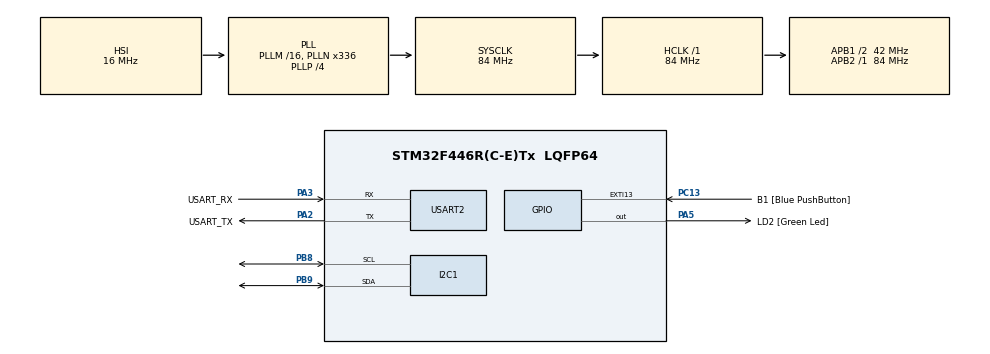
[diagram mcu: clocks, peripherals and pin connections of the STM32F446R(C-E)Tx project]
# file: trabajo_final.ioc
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Mcu.Family=STM32F4
Mcu.Name=STM32F446R(C-E)Tx
Mcu.Package=LQFP64
NVIC.PriorityGroup=NVIC_PRIORITYGROUP_0
PA13.GPIO_Label=TMS
PA13.Mode=Serial_Wire
PA13.Signal=SYS_JTMS-SWDIO
PA14.GPIO_Label=TCK
PA14.Mode=Serial_Wire
PA14.Signal=SYS_JTCK-SWCLK
PA2.GPIO_Label=USART_TX
PA2.Mode=Asynchronous
PA2.Signal=USART2_TX
PA3.GPIO_Label=USART_RX
PA3.Mode=Asynchronous
PA3.Signal=USART2_RX
PA5.GPIO_Label=LD2 [Green Led]
PA5.Signal=GPIO_Output
PB3.GPIO_Label=SWO
PB3.Signal=SYS_JTDO-SWO
PB8.Mode=I2C
PB8.Signal=I2C1_SCL
PB9.Mode=I2C
PB9.Signal=I2C1_SDA
PC13.GPIO_Label=B1 [Blue PushButton]
PC13.GPIO_ModeDefaultEXTI=GPIO_MODE_IT_FALLING
PC13.Signal=GPXTI13
PC14-OSC32_IN.Mode=LSE-External-Oscillator
PC14-OSC32_IN.Signal=RCC_OSC32_IN
PC15-OSC32_OUT.Mode=LSE-External-Oscillator
PC15-OSC32_OUT.Signal=RCC_OSC32_OUT
PH0-OSC_IN.Mode=HSE-External-Oscillator
PH0-OSC_IN.Signal=RCC_OSC_IN
PH1-OSC_OUT.Mode=HSE-External-Oscillator
PH1-OSC_OUT.Signal=RCC_OSC_OUT
ProjectManager.HeapSize=0x200
ProjectManager.StackSize=0x400
ProjectManager.TargetToolchain=STM32CubeIDE
RCC.48MHZClocksFreq_Value=84000000
RCC.AHBFreq_Value=84000000
RCC.APB1CLKDivider=RCC_HCLK_DIV2
RCC.APB1Freq_Value=42000000
RCC.APB1TimFreq_Value=84000000
RCC.APB2Freq_Value=84000000
RCC.APB2TimFreq_Value=84000000
RCC.CortexFreq_Value=84000000
RCC.FLatency-AdvancedSettings=FLASH_LATENCY_2
RCC.HCLKFreq_Value=84000000
RCC.HSE_VALUE=8000000
RCC.HSI_VALUE=16000000
RCC.PLLN=336
RCC.PLLP=RCC_PLLP_DIV4
RCC.SYSCLKFreq_VALUE=84000000
RCC.SYSCLKSource=RCC_SYSCLKSOURCE_PLLCLK
RCC.USBFreq_Value=168000000
RCC.VCOOutputFreq_Value=336000000
USART2.VirtualMode=VM_ASYNC
board=NUCLEO-F446RE

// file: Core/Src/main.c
/* USER CODE BEGIN Header */
/**
  ******************************************************************************
  * @file           : main.c
  * @brief          : Main program body
  ******************************************************************************
  * @attention
  *
  * Copyright (c) 2025 STMicroelectronics.
  * All rights reserved.
  *
  * This software is licensed under terms that can be found in the LICENSE file
  * in the root directory of this software component.
  * If no LICENSE file comes with this software, it is provided AS-IS.
  *
  ******************************************************************************
  */
/* USER CODE END Header */
#include "main.h"

/* USER CODE BEGIN Includes */
#include <stdbool.h>
#include <stdint.h>
#include "API_ht_sensor.h"
#include "API_cmdparser.h"
#include "API_lcd.h"
#include "error.h"

/* USER CODE END Includes */

I2C_HandleTypeDef hi2c1;

UART_HandleTypeDef huart2;

void SystemClock_Config(void);
static void MX_GPIO_Init(void);
static void MX_USART2_UART_Init(void);
static void MX_I2C1_Init(void);

int main(void)
{

  /* MCU Configuration--------------------------------------------------------*/

  /* Reset of all peripherals, Initializes the Flash interface and the Systick. */
  HAL_Init();

  /* Configure the system clock */
  SystemClock_Config();

  /* Initialize all configured peripherals */
  MX_GPIO_Init();
  MX_USART2_UART_Init();
  MX_I2C1_Init();
  /* USER CODE BEGIN 2 */

  if (cmdparser_init() != APP_OK) {
	  HAL_GPIO_TogglePin(LD2_GPIO_Port, LD2_Pin);
	  while (1);
  }

  if (lcd_init() != APP_OK) {
	  HAL_GPIO_TogglePin(LD2_GPIO_Port, LD2_Pin);
	  while (1);
  }

  if (ht_init() != APP_OK) {
	  HAL_GPIO_TogglePin(LD2_GPIO_Port, LD2_Pin);
	  while (1);
  }

  /* USER CODE END 2 */

  /* Infinite loop */
  /* USER CODE BEGIN WHILE */
  while (1)
  {
	  cmdparser_read_cmd();
    /* USER CODE END WHILE */

  }
}

void SystemClock_Config(void)
{
  RCC_OscInitTypeDef RCC_OscInitStruct = {0};
  RCC_ClkInitTypeDef RCC_ClkInitStruct = {0};

  /** Configure the main internal regulator output voltage
  */
  __HAL_RCC_PWR_CLK_ENABLE();
  __HAL_PWR_VOLTAGESCALING_CONFIG(PWR_REGULATOR_VOLTAGE_SCALE3);

  /** Initializes the RCC Oscillators according to the specified parameters
  * in the RCC_OscInitTypeDef structure.
  */
  RCC_OscInitStruct.OscillatorType = RCC_OSCILLATORTYPE_HSI;
  RCC_OscInitStruct.HSIState = RCC_HSI_ON;
  RCC_OscInitStruct.HSICalibrationValue = RCC_HSICALIBRATION_DEFAULT;
  RCC_OscInitStruct.PLL.PLLState = RCC_PLL_ON;
  RCC_OscInitStruct.PLL.PLLSource = RCC_PLLSOURCE_HSI;
  RCC_OscInitStruct.PLL.PLLM = 16;
  RCC_OscInitStruct.PLL.PLLN = 336;
  RCC_OscInitStruct.PLL.PLLP = RCC_PLLP_DIV4;
  RCC_OscInitStruct.PLL.PLLQ = 2;
  RCC_OscInitStruct.PLL.PLLR = 2;
  if (HAL_RCC_OscConfig(&RCC_OscInitStruct) != HAL_OK)
  {
    Error_Handler();
  }

  /** Initializes the CPU, AHB and APB buses clocks
  */
  RCC_ClkInitStruct.ClockType = RCC_CLOCKTYPE_HCLK|RCC_CLOCKTYPE_SYSCLK
                              |RCC_CLOCKTYPE_PCLK1|RCC_CLOCKTYPE_PCLK2;
  RCC_ClkInitStruct.SYSCLKSource = RCC_SYSCLKSOURCE_PLLCLK;
  RCC_ClkInitStruct.AHBCLKDivider = RCC_SYSCLK_DIV1;
  RCC_ClkInitStruct.APB1CLKDivider = RCC_HCLK_DIV2;
  RCC_ClkInitStruct.APB2CLKDivider = RCC_HCLK_DIV1;

  if (HAL_RCC_ClockConfig(&RCC_ClkInitStruct, FLASH_LATENCY_2) != HAL_OK)
  {
    Error_Handler();
  }
}

static void MX_I2C1_Init(void)
{

  hi2c1.Instance = I2C1;
  hi2c1.Init.ClockSpeed = 100000;
  hi2c1.Init.DutyCycle = I2C_DUTYCYCLE_2;
  hi2c1.Init.OwnAddress1 = 0;
  hi2c1.Init.AddressingMode = I2C_ADDRESSINGMODE_7BIT;
  hi2c1.Init.DualAddressMode = I2C_DUALADDRESS_DISABLE;
  hi2c1.Init.OwnAddress2 = 0;
  hi2c1.Init.GeneralCallMode = I2C_GENERALCALL_DISABLE;
  hi2c1.Init.NoStretchMode = I2C_NOSTRETCH_DISABLE;
  if (HAL_I2C_Init(&hi2c1) != HAL_OK)
  {
    Error_Handler();
  }

}

static void MX_USART2_UART_Init(void)
{

  huart2.Instance = USART2;
  huart2.Init.BaudRate = 115200;
  huart2.Init.WordLength = UART_WORDLENGTH_8B;
  huart2.Init.StopBits = UART_STOPBITS_1;
  huart2.Init.Parity = UART_PARITY_NONE;
  huart2.Init.Mode = UART_MODE_TX_RX;
  huart2.Init.HwFlowCtl = UART_HWCONTROL_NONE;
  huart2.Init.OverSampling = UART_OVERSAMPLING_16;
  if (HAL_UART_Init(&huart2) != HAL_OK)
  {
    Error_Handler();
  }

}

static void MX_GPIO_Init(void)
{
  GPIO_InitTypeDef GPIO_InitStruct = {0};

  /* GPIO Ports Clock Enable */
  __HAL_RCC_GPIOC_CLK_ENABLE();
  __HAL_RCC_GPIOH_CLK_ENABLE();
  __HAL_RCC_GPIOA_CLK_ENABLE();
  __HAL_RCC_GPIOB_CLK_ENABLE();

  /*Configure GPIO pin Output Level */
  HAL_GPIO_WritePin(LD2_GPIO_Port, LD2_Pin, GPIO_PIN_RESET);

  /*Configure GPIO pin : B1_Pin */
  GPIO_InitStruct.Pin = B1_Pin;
  GPIO_InitStruct.Mode = GPIO_MODE_IT_FALLING;
  GPIO_InitStruct.Pull = GPIO_NOPULL;
  HAL_GPIO_Init(B1_GPIO_Port, &GPIO_InitStruct);

  /*Configure GPIO pin : LD2_Pin */
  GPIO_InitStruct.Pin = LD2_Pin;
  GPIO_InitStruct.Mode = GPIO_MODE_OUTPUT_PP;
  GPIO_InitStruct.Pull = GPIO_NOPULL;
  GPIO_InitStruct.Speed = GPIO_SPEED_FREQ_LOW;
  HAL_GPIO_Init(LD2_GPIO_Port, &GPIO_InitStruct);

}

void Error_Handler(void)
{
  __disable_irq();
  while (1)
  {
  }
}
